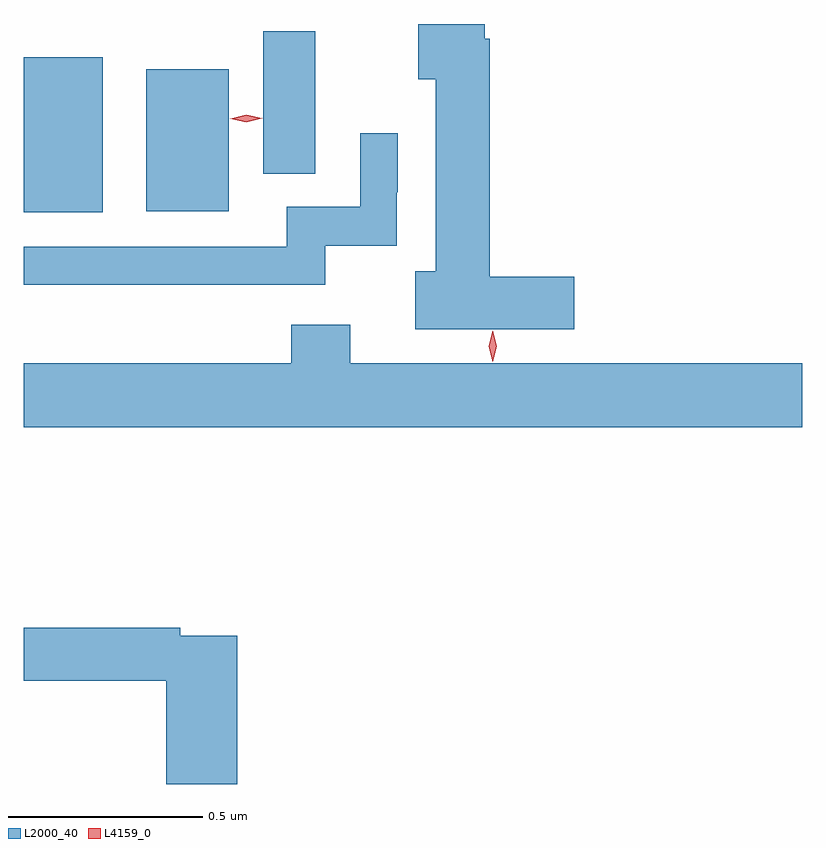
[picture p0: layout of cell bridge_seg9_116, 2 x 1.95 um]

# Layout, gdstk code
import gdstk
lib = gdstk.Library(unit=1e-6, precision=1e-09)
def R(c, l, rs):  # rectangles x0, y0, x1, y1
    for r in rs: c.add(gdstk.rectangle(r[:2], r[2:], *l))
def P(c, l, *ps):  # polygons
    for p in ps: c.add(gdstk.Polygon(p, *l))
L2000_40 = (2000, 40)
L4159_0 = (4159, 0)

bridge_seg9_116 = lib.new_cell('bridge_seg9_116')
R(bridge_seg9_116, L2000_40, [(633.608,1240.928,633.811,1241.326), (633.923,1240.931,634.135,1241.296), (634.223,1241.027,634.357,1241.394)])
P(bridge_seg9_116, L2000_40, [(635.023,1240.763),(634.805,1240.763),(634.805,1241.374),(634.792,1241.374),(634.792,1241.412),(634.622,1241.412),(634.622,1241.27),(634.667,1241.27),(634.667,1240.776),(634.614,1240.776),(634.614,1240.628),(635.023,1240.628)],
  [(634.383,1240.842),(634.566,1240.842),(634.566,1240.98),(634.569,1240.98),(634.569,1241.131),(634.473,1241.131),(634.473,1240.942),(634.283,1240.942),(634.283,1240.839),(633.608,1240.839),(633.608,1240.742),(634.383,1240.742)],
  [(635.608,1240.54),(634.447,1240.54),(634.447,1240.639),(634.295,1240.639),(634.295,1240.54),(633.608,1240.54),(633.608,1240.376),(635.608,1240.376)],
  [(634.157,1239.84),(634.01,1239.84),(634.01,1239.86),(633.608,1239.86),(633.608,1239.724),(633.974,1239.724),(633.974,1239.459),(634.157,1239.459)])
P(bridge_seg9_116, L4159_0, [(634.18,1241.159),(634.139,1241.168),(634.139,1241.168),(634.139,1241.168),(634.18,1241.179),(634.221,1241.17),(634.221,1241.17),(634.221,1241.17)],
  [(634.813,1240.544),(634.813,1240.544),(634.803,1240.584),(634.813,1240.624),(634.813,1240.624),(634.813,1240.624),(634.823,1240.584),(634.813,1240.544)])

lib.write_gds('bridge_seg9_116.gds')
